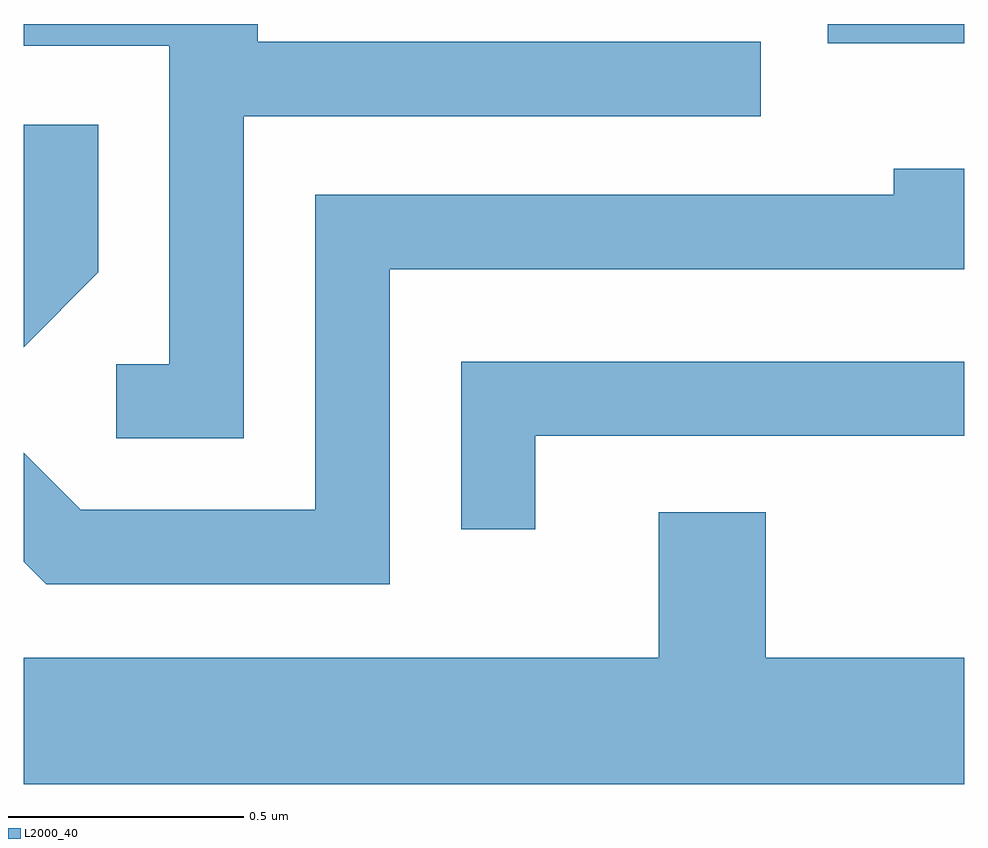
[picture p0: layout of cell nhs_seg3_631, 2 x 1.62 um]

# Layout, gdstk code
import gdstk
lib = gdstk.Library(unit=1e-6, precision=1e-09)
def R(c, l, rs):  # rectangles x0, y0, x1, y1
    for r in rs: c.add(gdstk.rectangle(r[:2], r[2:], *l))
def P(c, l, *ps):  # polygons
    for p in ps: c.add(gdstk.Polygon(p, *l))
L2000_40 = (2000, 40)

nhs_seg3_631 = lib.new_cell('nhs_seg3_631')
R(nhs_seg3_631, L2000_40, [(191.321,1200.851,191.611,1200.892)])
P(nhs_seg3_631, L2000_40, [(190.079,1200.696),(191.178,1200.696),(191.178,1200.854),(190.109,1200.854),(190.109,1200.892),(189.611,1200.892),(189.611,1200.846),(189.921,1200.846),(189.921,1200.169),(189.808,1200.169),(189.808,1200.011),(190.079,1200.011)],
  [(189.769,1200.364),(189.769,1200.678),(189.611,1200.678),(189.611,1200.205)],
  [(190.389,1200.371),(191.611,1200.371),(191.611,1200.584),(191.461,1200.584),(191.461,1200.529),(190.231,1200.529),(190.231,1199.859),(189.732,1199.859),(189.611,1199.98),(189.611,1199.749),(189.659,1199.701),(190.389,1199.701)],
  [(190.699,1200.016),(191.611,1200.016),(191.611,1200.174),(190.541,1200.174),(190.541,1199.818),(190.699,1199.818)],
  [(191.611,1199.544),(191.189,1199.544),(191.189,1199.854),(190.961,1199.854),(190.961,1199.544),(189.611,1199.544),(189.611,1199.276),(191.611,1199.276)])

lib.write_gds('nhs_seg3_631.gds')
